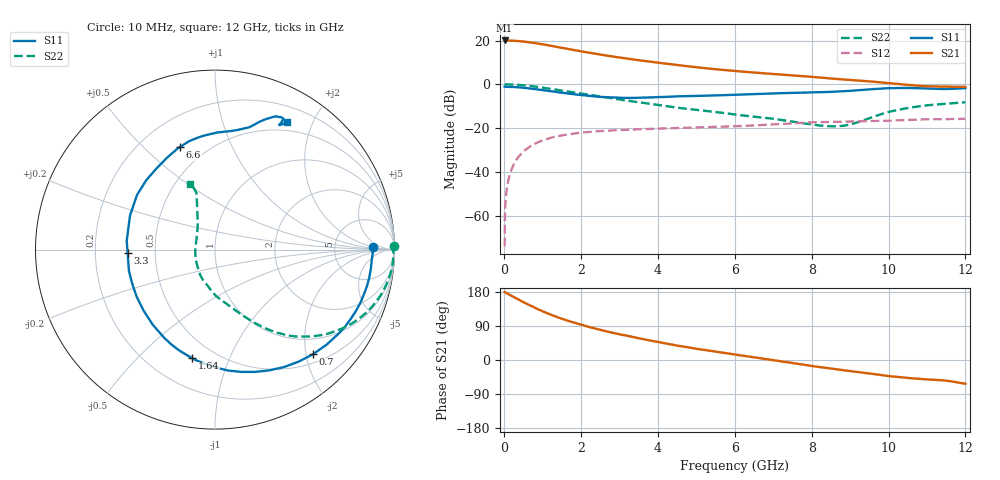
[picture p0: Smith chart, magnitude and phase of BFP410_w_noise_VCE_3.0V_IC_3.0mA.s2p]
! Infineon Technologies  Discrete & RF Semiconductors
! BFP410
! VCE =  3.0 V,  IC =  3.0 mA
! Common Emitter S-Parameters:  Nov 2015
# GHz  S  MA  R  50
!  f  S11  S21  S12  S22
! GHz  MAG  ANG  MAG  ANG  MAG  ANG  MAG  ANG
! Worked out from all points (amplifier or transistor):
!   243 points, 10 MHz to 12 GHz, reference 50 ohm
!   highest |S21| = 20.0 dB at 10 MHz (marker M1)
!   |S21| within 3 dB of that: start of sweep to 1.386 GHz
!   unconditionally stable (mu >= 1): 3.635 GHz to end of sweep
!   at 240 MHz: K = 0.06, MSG = 28.4 dB, |S12| = -36.9 dB
!   at 1.84 GHz: K = 0.47, MSG = 19.0 dB, |S12| = -22.4 dB
!   at 12 GHz: K = 1.11, MAG = 5.3 dB, |S12| = -15.8 dB
!   lowest NFmin = 0.87 dB at 900 MHz
!   S11 on the Smith chart (normalised r, x): 10 MHz: 15, +2; 700 MHz: 0.66, -2.13; 1.64 GHz: 0.38, -0.74; 3.3 GHz: 0.34, -0.02; 6.6 GHz: 0.36, +0.65; 12 GHz: 0.39, +1.65
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0.01  0.8795 0.9  10.04 179.4  0.0002 54.6  0.9986 1.3
0.015  0.8796 0.1  10.01 179.1  0.0007 78.2  0.9937 0.7
0.02  0.8799 -0.7  9.985 178.8  0.0012 82.0  0.9889 0.1
0.035  0.8777 -1.9  9.962 177.8  0.0021 85.3  0.992 -0.6
0.13  0.8741 -8.7  9.959 172.7  0.0078 84.7  0.9931 -4.3
0.36  0.8545 -24.4  9.738 160.1  0.0213 77.2  0.9716 -12.2
0.5  0.834 -33.8  9.488 152.6  0.0291 72.6  0.95 -16.8
0.7  0.7988 -46.9  9.032 142.4  0.0393 66.1  0.9106 -23.0
0.9  0.7589 -59.6  8.481 132.9  0.0483 60.0  0.8647 -28.6
1.1  0.7172 -71.8  7.913 124.2  0.0561 54.6  0.8148 -33.7
1.4  0.6587 -89.1  7.068 112.3  0.0655 47.4  0.7417 -40.4
1.64  0.6178 -101.9  6.468 104.0  0.0714 42.5  0.6877 -44.8
2.02  0.5644 -120.7  5.624 92.6  0.0788 36.1  0.6121 -50.7
2.6  0.5097 -148.7  4.63 77.0  0.0866 28.0  0.5072 -58.3
3.3  0.4872 -177.9  3.751 61.7  0.0922 21.4  0.4112 -65.9
4.1  0.5123 155.3  3.044 45.6  0.0977 16.0  0.3268 -75.1
5  0.5443 134.7  2.451 29.6  0.1033 11.2  0.26 -88.4
6.1  0.5814 116.1  1.981 13.0  0.1107 6.9  0.1993 -103.7
6.6  0.6043 108.7  1.827 5.6  0.116 5.1  0.1778 -113.5
8.2  0.6586 85.5  1.428 -18.5  0.1362 -5.1  0.1144 -162.1
10.2  0.8202 64.3  1.023 -44.3  0.1498 -16.5  0.2549 113.0
12  0.8152 60.4  0.873 -62.8  0.1628 -30.2  0.3885 110.8
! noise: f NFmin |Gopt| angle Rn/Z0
0.45  0.92  0.39  6  0.24
0.9  0.87  0.38  20  0.22
1.8  1.07  0.29  53  0.19
2.4  1.11  0.25  58  0.19
5.5  2.12  0.33  -139  0.2
10  3.64  0.68  -55  1.98
